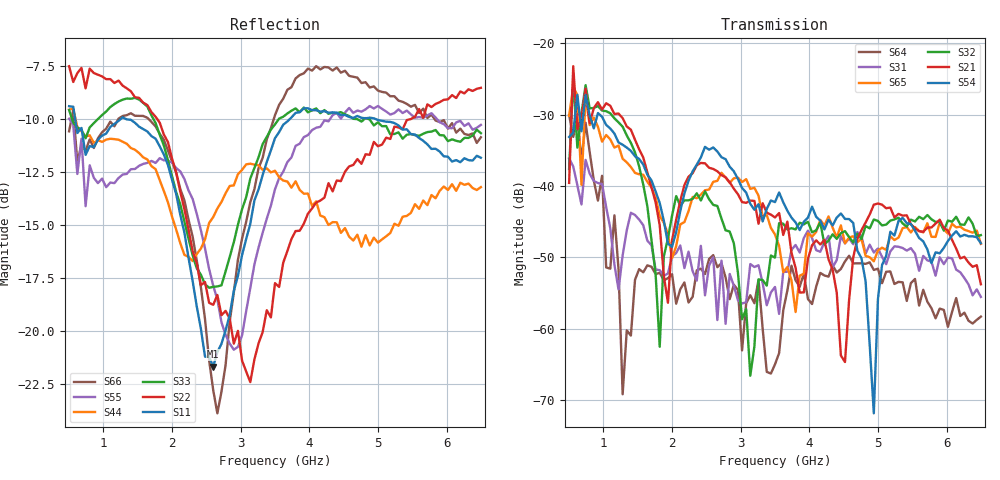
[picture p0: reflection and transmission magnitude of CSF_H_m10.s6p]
!Keysight Technologies,M9804A,MY58100912,A.14.10.03
!Date: Thursday, April 27, 2023 10:28:33
!Correction: S11(C  6-Port  )
!S12(C  6-Port  )
!S13(C  6-Port  )
!S14(C  6-Port  )
!S15(C  6-Port  )
!S16(C  6-Port  )
!S21(C  6-Port  )
!S22(C  6-Port  )
!S23(C  6-Port  )
!S24(C  6-Port  )
!S25(C  6-Port  )
!S26(C  6-Port  )
!S31(C  6-Port  )
!S32(C  6-Port  )
!S33(C  6-Port  )
!S34(C  6-Port  )
!S35(C  6-Port  )
!S36(C  6-Port  )
!S41(C  6-Port  )
!S42(C  6-Port  )
!S43(C  6-Port  )
!S44(C  6-Port  )
!S45(C  6-Port  )
!S46(C  6-Port  )
!S51(C  6-Port  )
!S52(C  6-Port  )
!S53(C  6-Port  )
!S54(C  6-Port  )
!S55(C  6-Port  )
!S56(C  6-Port  )
!S61(C  6-Port  )
!S62(C  6-Port  )
!S63(C  6-Port  )
!S64(C  6-Port  )
!S65(C  6-Port  )
!S66(C  6-Port  )
!S6P File: Measurement: :
# Hz S  RI  R 50
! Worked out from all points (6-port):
!   101 points, 500 MHz to 6.5 GHz, reference 50 ohm
!   strongest paths, dB at 500 MHz, 2 GHz, 3.5 GHz, 5 GHz, 6.5 GHz:
!     S54: -33.1, -48.6, -42.3, -55.9, -48.0
!     S21: -39.6, -47.6, -44.4, -42.5, -53.8
!     S32: -37.7, -44.2, -50.1, -44.9, -46.9
!     S65: -30.2, -50.1, -46.8, -49.0, -48.1
!     S31: -36.2, -49.9, -54.2, -48.8, -55.6
!     S64: -30.1, -52.4, -65.0, -51.6, -58.3
!   lowest |S11| = -21.7 dB at 2.6 GHz (marker M1), VSWR 1.18, Z = 42.6 + j2 ohm
!   |S11| at or under -10 dB: 588.6 MHz to 1.248 GHz (659.8 MHz wide, 71.8 % of centre); 1.335 GHz to 3.713 GHz (2.378 GHz wide, 94.2 % of centre); 4.972 GHz to end of sweep
